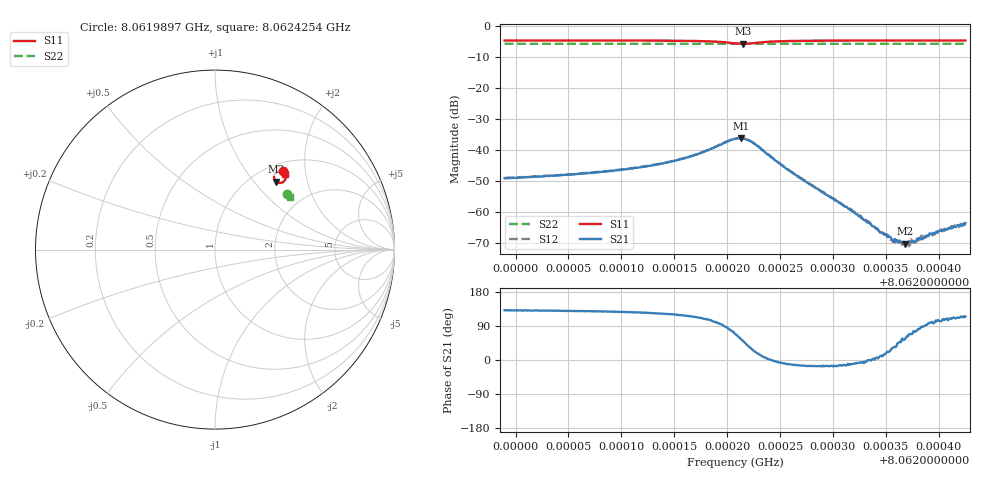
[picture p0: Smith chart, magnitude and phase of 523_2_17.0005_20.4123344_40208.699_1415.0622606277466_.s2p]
#  HZ  S  RI  R  50.00
! Rohde & Schwarz Vector Network Analyzer
! Rohde-Schwarz,ZNB20-2Port,1311601062101988,3.16
! Created: UTC 3/20/2024, 11:15:35 PM
! freq[Hz]  re:S11  im:S11  re:S21  im:S21  re:S12  im:S12  re:S22  im:S22
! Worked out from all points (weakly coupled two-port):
!   401 points, 8.0619897 GHz to 8.0624254 GHz, reference 50 ohm
!   highest |S21| = -36.27 dB at 8.062213 GHz (marker M1); lowest = -70.3 dB at 8.0623687 GHz (marker M2)
!   lowest |S11| = -5.9 dB at 8.0622152 GHz (marker M3), VSWR 3.07, Z = 63.9 + j65.4 ohm
!   |S11| at or under -10 dB: nowhere
!   |S22| runs from -5.9 to -5.9 dB; largest |S21 - S12| = 0.001
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8.06198969e9  0.3762 0.4361  -0.00228 0.0026  -0.00214 0.00277  0.4024 0.312
8.06206267e9  0.3822 0.4304  -0.0026 0.00318  -0.00244 0.00337  0.4052 0.3082
8.06210624e9  0.3864 0.4253  -0.0029 0.00394  -0.00268 0.00414  0.4067 0.3059
8.06213565e9  0.3898 0.4197  -0.00318 0.00489  -0.00291 0.00513  0.4079 0.3041
8.06216832e9  0.3937 0.4075  -0.00331 0.00733  -0.00289 0.0076  0.4089 0.302
8.06220753e9  0.361 0.3711  0.0053 0.0139  0.00608 0.0137  0.4082 0.2988
8.06221298e9  0.3453 0.3754  0.00863 0.0127  0.00941 0.0121  0.4078 0.2991
8.06221516e9  0.3397 0.3793  0.0098 0.0115  0.0104 0.0111  0.4076 0.2991
8.06222714e9  0.3298 0.4105  0.0113 0.00427  0.0117 0.00367  0.4081 0.3002
8.06225437e9  0.3559 0.4354  0.00513 -0.00084  0.00514 -0.00119  0.4106 0.2996
8.06228051e9  0.369 0.4352  0.00252 -0.000712  0.00251 -0.000881  0.4119 0.2984
8.06231863e9  0.3782 0.4319  0.000992 -0.000184  0.000975 -0.000277  0.4135 0.2961
8.06234259e9  0.3818 0.4299  0.000515 3.54e-05  0.000517 1.79e-05  0.4145 0.2948
8.06235349e9  0.3831 0.4289  0.000368 0.000152  0.000375 0.000153  0.4149 0.2942
8.06235893e9  0.3839 0.4286  0.000301 0.000204  0.000275 0.000164  0.4151 0.2941
8.06236874e9  0.3848 0.4279  0.000166 0.000255  0.000188 0.000261  0.4155 0.2933
8.06237091e9  0.3852 0.4277  0.000146 0.000277  0.000183 0.000259  0.4155 0.2933
8.06237418e9  0.3855 0.4274  0.000121 0.000304  0.000136 0.000332  0.4156 0.293
8.06238507e9  0.3866 0.4266  1.65e-05 0.000363  2.29e-05 0.000363  0.4159 0.2926
8.06239488e9  0.3875 0.426  -5.35e-05 0.000452  -5.73e-05 0.000425  0.4164 0.292
8.06240032e9  0.3878 0.4257  -0.000114 0.000478  -7.71e-05 0.000494  0.4166 0.2918
8.06242537e9  0.3899 0.424  -0.000271 0.000595  -0.00022 0.000592  0.4174 0.2905
